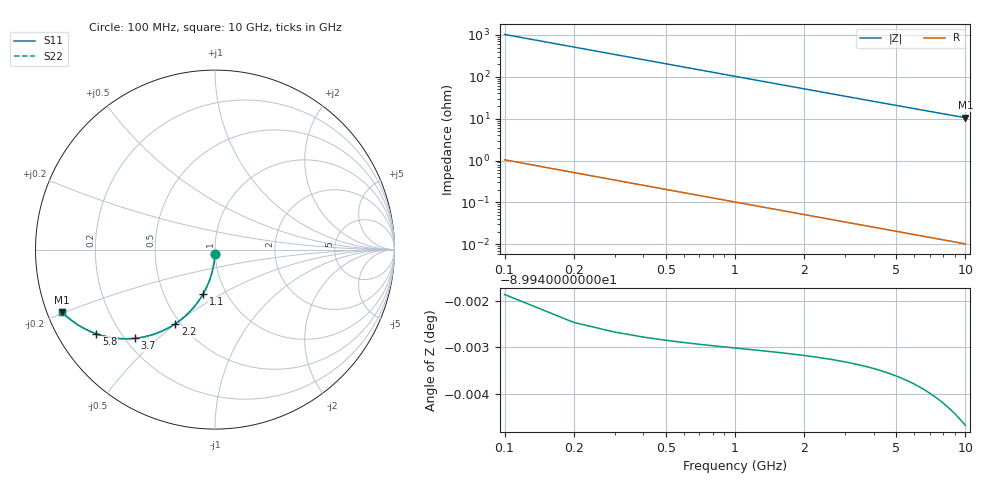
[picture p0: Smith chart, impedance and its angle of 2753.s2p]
# Hz S RI R 50.00
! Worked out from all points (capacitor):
!   100 points, 100 MHz to 10 GHz, reference 50 ohm
!   read as one part in shunt: C = 1.55 pF near 100 MHz
!   lowest |Z| = 10.6 ohm at 10 GHz (marker M1)
!   S11 on the Smith chart (normalised r, x): 100 MHz: 1.00, -0.05; 1.1 GHz: 0.78, -0.41; 2.2 GHz: 0.47, -0.50; 3.7 GHz: 0.24, -0.42; 5.8 GHz: 0.12, -0.31; 10 GHz: 0.04, -0.20
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1e8  -0.000605 -0.0243  0.9994 -0.0244  0.9994 -0.0244  -0.000605 -0.0243
2e8  -0.0024 -0.0484  0.9976 -0.0487  0.9976 -0.0487  -0.0024 -0.0484
3e8  -0.00536 -0.0724  0.9946 -0.0728  0.9946 -0.0728  -0.00536 -0.0724
4e8  -0.00946 -0.0961  0.9905 -0.0966  0.9905 -0.0966  -0.00946 -0.0961
5e8  -0.0147 -0.1195  0.9853 -0.1201  0.9853 -0.1201  -0.0147 -0.1195
6e8  -0.021 -0.1425  0.979 -0.1432  0.979 -0.1432  -0.021 -0.1425
7e8  -0.0283 -0.1649  0.9717 -0.1658  0.9717 -0.1658  -0.0283 -0.1649
9e8  -0.0459 -0.2081  0.9541 -0.2093  0.9541 -0.2093  -0.0459 -0.2081
1.1e9  -0.0669 -0.2486  0.9331 -0.2501  0.9331 -0.2501  -0.0669 -0.2486
1.4e9  -0.1039 -0.3037  0.8961 -0.3055  0.8961 -0.3055  -0.1039 -0.3037
1.8e9  -0.1605 -0.3654  0.8395 -0.3677  0.8395 -0.3677  -0.1605 -0.3654
2.2e9  -0.2218 -0.4135  0.7782 -0.4164  0.7782 -0.4164  -0.2218 -0.4135
2.8e9  -0.3152 -0.4623  0.6848 -0.4659  0.6848 -0.4659  -0.3152 -0.4623
3.4e9  -0.4036 -0.4879  0.5964 -0.4924  0.5964 -0.4924  -0.4036 -0.4879
3.7e9  -0.4446 -0.494  0.5554 -0.4989  0.5554 -0.4989  -0.4446 -0.494
4.4e9  -0.5303 -0.4957  0.4697 -0.5015  0.4697 -0.5015  -0.5303 -0.4957
5.1e9  -0.6021 -0.4856  0.3978 -0.4923  0.3978 -0.4923  -0.6021 -0.4856
5.8e9  -0.6614 -0.4689  0.3385 -0.4766  0.3385 -0.4766  -0.6614 -0.4689
6.7e9  -0.7223 -0.4429  0.2776 -0.4518  0.2776 -0.4518  -0.7223 -0.4429
7.5e9  -0.765 -0.4185  0.235 -0.4285  0.235 -0.4285  -0.765 -0.4185
8.4e9  -0.8031 -0.3915  0.1968 -0.4028  0.1968 -0.4028  -0.8031 -0.3915
1e10  -0.8523 -0.3474  0.1475 -0.361  0.1475 -0.361  -0.8523 -0.3474
